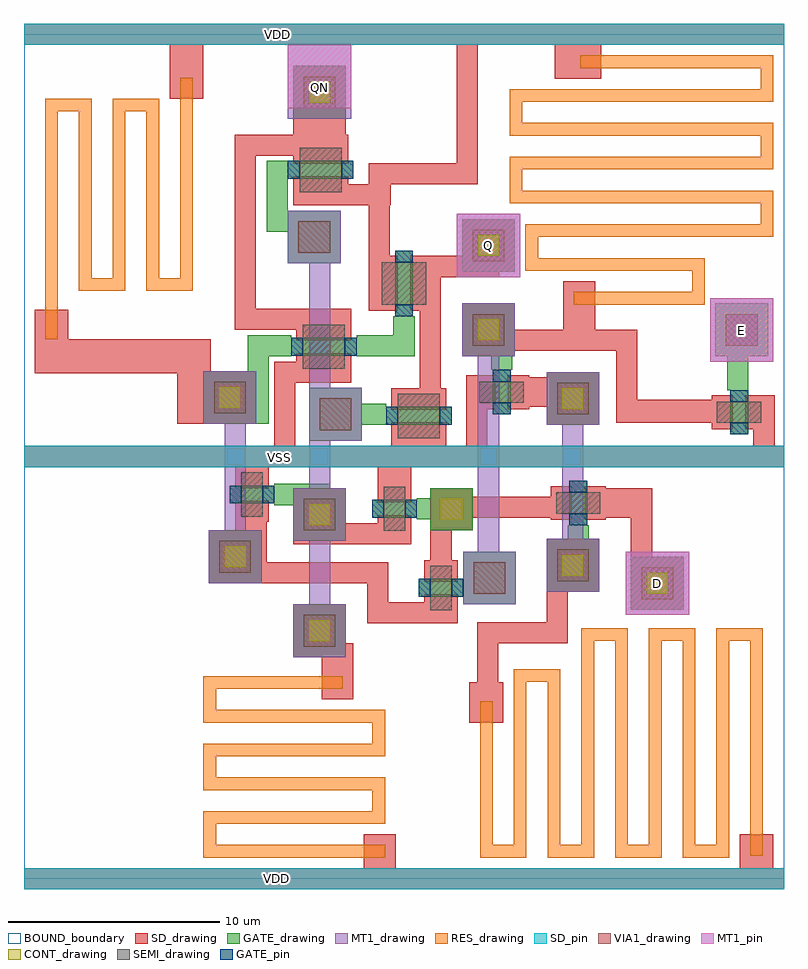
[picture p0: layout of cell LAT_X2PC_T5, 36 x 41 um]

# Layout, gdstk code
from math import pi, radians
import gdstk
lib = gdstk.Library(unit=1e-6, precision=1e-09)
def R(c, l, rs):  # rectangles x0, y0, x1, y1
    for r in rs: c.add(gdstk.rectangle(r[:2], r[2:], *l))
def A(c, l, x, y, w, h, nx, ny, dx, dy):  # array of equal rectangles
    R(c, l, [(x+i*dx, y+j*dy, x+i*dx+w, y+j*dy+h) for i in range(nx) for j in range(ny)])
def P(c, l, *ps):  # polygons
    for p in ps: c.add(gdstk.Polygon(p, *l))
RES_drawing = (1, 0)
SEMI_drawing = (3, 0)
SD_drawing = (10, 0)
SD_pin = (10, 3)
GATE_drawing = (11, 0)
GATE_pin = (11, 3)
MT1_drawing = (20, 0)
MT1_pin = (20, 3)
CONT_drawing = (30, 0)
VIA1_drawing = (41, 0)
BOUND_boundary = (150, 5)

nch_cdns_772544946530 = lib.new_cell('nch_CDNS_772544946530')
R(nch_cdns_772544946530, SEMI_drawing, [(-1.05,-0.5,1.05,0.5)])
R(nch_cdns_772544946530, SD_drawing, [(-1.3,-0.8,-0.3,0.8), (0.3,-0.8,1.3,0.8)])
R(nch_cdns_772544946530, GATE_drawing, [(-0.425,-1.05,0.425,1.05)])
R(nch_cdns_772544946530, GATE_pin, [(-0.425,-1.05,0.425,-0.5), (-0.425,0.5,0.425,1.05)])

nch_cdns_772544946531 = lib.new_cell('nch_CDNS_772544946531')
R(nch_cdns_772544946531, SEMI_drawing, [(-1.05,-1,1.05,1)])
R(nch_cdns_772544946531, SD_drawing, [(-1.3,-1.3,-0.3,1.3), (0.3,-1.3,1.3,1.3)])
R(nch_cdns_772544946531, GATE_drawing, [(-0.425,-1.55,0.425,1.55)])
R(nch_cdns_772544946531, GATE_pin, [(-0.425,-1.55,0.425,-1), (-0.425,1,0.425,1.55)])

sd_gate_cdns_77254494653 = lib.new_cell('SD_GATE_CDNS_772544946530')
R(sd_gate_cdns_77254494653, SD_drawing, [(-1.25,-1.25,1.25,1.25)])
R(sd_gate_cdns_77254494653, GATE_drawing, [(-1.25,-1.25,1.25,1.25)])
R(sd_gate_cdns_77254494653, CONT_drawing, [(-0.5,-0.5,0.5,0.5)])

gate_mt1_cdns_7725449465 = lib.new_cell('GATE_MT1_CDNS_772544946531')
R(gate_mt1_cdns_7725449465, GATE_drawing, [(-1.25,-1.25,1.25,1.25)])
R(gate_mt1_cdns_7725449465, MT1_drawing, [(-1.5,-1.5,1.5,1.5)])
R(gate_mt1_cdns_7725449465, VIA1_drawing, [(-0.75,-0.75,0.75,0.75)])

c_gate_mt1_cdns_7725449465 = lib.new_cell('GATE_MT1_CDNS_772544946532')
R(c_gate_mt1_cdns_7725449465, GATE_drawing, [(-1.25,-1.25,1.25,1.25)])
R(c_gate_mt1_cdns_7725449465, MT1_drawing, [(-1.25,-1.25,1.25,1.25)])
R(c_gate_mt1_cdns_7725449465, VIA1_drawing, [(-0.75,-0.75,0.75,0.75)])

c_sd_gate_cdns_77254494653 = lib.new_cell('SD_GATE_CDNS_772544946533')
R(c_sd_gate_cdns_77254494653, SD_drawing, [(-1,-1,1,1)])
R(c_sd_gate_cdns_77254494653, GATE_drawing, [(-1,-1,1,1)])
R(c_sd_gate_cdns_77254494653, CONT_drawing, [(-0.5,-0.5,0.5,0.5)])

gate_mt1_stack_cdns_7725 = lib.new_cell('GATE_MT1_STACK_CDNS_772544946534')
R(gate_mt1_stack_cdns_7725, GATE_drawing, [(-1.25,-1.25,1.25,1.25)])
R(gate_mt1_stack_cdns_7725, MT1_drawing, [(-1.25,-1.25,1.25,1.25)])
R(gate_mt1_stack_cdns_7725, VIA1_drawing, [(-0.75,-0.75,0.75,0.75)])

lat_x2pc_t5 = lib.new_cell('LAT_X2PC_T5')
A(lat_x2pc_t5, SD_drawing, 0, -0.5, 36, 1, 1, 3, 0, 20)
R(lat_x2pc_t5, SD_drawing, [(16.1,0.5,17.6,2.1), (33.9,0.5,35.5,2.1), (21.1,7.4,22.7,9.3), (21.475,9.3,22.475,11.2), (21.475,11.15,25.6,12.15), (24.75,11.15,25.75,15.05), (28.75,12.75,31.25,15.25), (24.75,13.6,27.25,16.1), (8.75,14,11.25,16.5), (19.25,14.75,20.25,17.3), (12.75,15.85,18.35,16.85), (19.25,17.1,24.95,18.1), (16.75,18.825,18.35,19.5), (8.5,21.55,11,24.05), (25.55,26,27.05,28.3), (6.9,36.95,8.5,39.5), (25.15,37.9,27.35,39.5)])
P(lat_x2pc_t5, SD_drawing, [(32.575,22.7),(29.05,22.7),(29.05,26),(22.5,26),(22.5,25),(28.05,25),(28.05,21.6),(32.575,21.6)],
  [(29.75,15.25),(29.75,18.5),(27.55,18.5),(27.55,17.1),(28.75,17.1),(28.75,15.25)],
  [(20.55,13.1),(17.25,13.1),(17.25,15),(11.5,15),(11.5,17.5),(10,17.5),(10,16.5),(10.5,16.5),(10.5,14),(16.25,14),(16.25,12.1),(20.55,12.1)],
  [(15.6,11.15),(15.25,11.15),(15.25,12.25),(14,12.25),(14,11.25),(14.1,11.25),(14.1,8.5),(15.6,8.5)],
  [(12.85,23.5),(15.5,23.5),(15.5,24.5),(11.85,24.5),(11.85,20.5),(12.85,20.5)])
A(lat_x2pc_t5, SD_pin, 0, -0.5, 36, 1, 1, 3, 0, 20)
P(lat_x2pc_t5, GATE_drawing, [(34.3,23.25),(33.3,23.25),(33.3,23.15),(33.55,23.15),(33.55,23.1),(34.3,23.1)],
  [(23.125,24.2),(22.125,24.2),(22.125,24.1),(22.25,24.1),(22.25,24.05),(23,24.05),(23,24.1),(23.125,24.1)],
  [(11.95,17.7),(11.95,18.7),(11.85,18.7),(11.85,18.575),(11.8,18.575),(11.8,17.825),(11.85,17.825),(11.85,17.7)],
  [(17.5,26.55),(18.5,26.55),(18.5,26.65),(18.375,26.65),(18.375,26.7),(17.625,26.7),(17.625,26.65),(17.5,26.65)],
  [(12.4,34),(12.4,33),(12.5,33),(12.5,33.25),(12.55,33.25),(12.55,34)],
  [(20.9,13.275),(20.9,14.275),(20.8,14.275),(20.8,14.15),(20.75,14.15),(20.75,13.4),(20.8,13.4),(20.8,13.275)],
  [(12.55,25.75),(12.55,24.75),(12.65,24.75),(12.65,24.825),(12.7,24.825),(12.7,25.575),(12.65,25.575),(12.65,25.75)],
  [(25.75,16.65),(26.75,16.65),(26.75,16.75),(26.625,16.75),(26.625,16.8),(25.875,16.8),(25.875,16.75),(25.75,16.75)],
  [(15.85,25.75),(15.85,24.75),(15.75,24.75),(15.75,24.825),(15.7,24.825),(15.7,25.575),(15.75,25.575),(15.75,25.75)],
  [(17.05,22.5),(17.05,21.5),(17.2,21.5),(17.2,22.25),(17.15,22.25),(17.15,22.5)],
  [(18.7,17.025),(18.7,18.025),(18.6,18.025),(18.6,17.9),(18.55,17.9),(18.55,17.15),(18.6,17.15),(18.6,17.025)])
R(lat_x2pc_t5, MT1_drawing, [(28.5,12.5,31.5,15.5), (32.5,24.5,35.5,27.5), (20.5,28.5,23.5,31.5), (12.5,36,15.5,39.5)])
R(lat_x2pc_t5, MT1_pin, [(28.5,12.5,31.5,15.5), (32.5,24.5,35.5,27.5), (20.5,28.5,23.5,31.5), (12.5,36.5,15.5,39.5)])
R(lat_x2pc_t5, BOUND_boundary, [(0,0,36,40)])
lat_x2pc_t5.add(gdstk.FlexPath([(22.625,24.75),(22.625,24.1)], 1, ends="flush", simple_path=True, layer=11, datatype=0))  # GATE_drawing
lat_x2pc_t5.add(gdstk.FlexPath([(18,26.65),(18,25.25)], 1, ends=(0, 0.5), simple_path=True, layer=11, datatype=0))  # GATE_drawing
lat_x2pc_t5.add(gdstk.FlexPath([(18,25.25),(15.75,25.25)], 1, ends=(0.5, 0), simple_path=True, layer=11, datatype=0))  # GATE_drawing
lat_x2pc_t5.add(gdstk.FlexPath([(33.8,23.15),(33.8,26)], 1, ends="flush", simple_path=True, layer=11, datatype=0))  # GATE_drawing
lat_x2pc_t5.add(gdstk.FlexPath([(26.25,14.85),(26,14.85)], 1, ends=(0.5, 0), simple_path=True, layer=11, datatype=0))  # GATE_drawing
lat_x2pc_t5.add(gdstk.FlexPath([(18.6,17.525),(19.25,17.525)], 1, ends="flush", simple_path=True, layer=11, datatype=0))  # GATE_drawing
lat_x2pc_t5.add(gdstk.FlexPath([(11.85,18.2),(14,18.2)], 1, ends=(0, 0.5), simple_path=True, layer=11, datatype=0))  # GATE_drawing
lat_x2pc_t5.add(gdstk.FlexPath([(14,18.2),(14,17.25)], 1, ends=(0.5, 0), simple_path=True, layer=11, datatype=0))  # GATE_drawing
lat_x2pc_t5.add(gdstk.FlexPath([(12.65,25.25),(11.1,25.25)], 1, ends=(0, 0.5), simple_path=True, layer=11, datatype=0))  # GATE_drawing
lat_x2pc_t5.add(gdstk.FlexPath([(13.55,30.925),(13.55,31.15)], 1, ends="extended", simple_path=True, layer=11, datatype=0))  # GATE_drawing
lat_x2pc_t5.add(gdstk.FlexPath([(17.05,22),(14,22)], 1, ends=(0, 0.5), simple_path=True, layer=11, datatype=0))  # GATE_drawing
lat_x2pc_t5.add(gdstk.FlexPath([(13.55,31.15),(12,31.15)], 1, ends="extended", simple_path=True, layer=11, datatype=0))  # GATE_drawing
lat_x2pc_t5.add(gdstk.FlexPath([(14,22),(14,21.875)], 1, ends=(0.5, 0), simple_path=True, layer=11, datatype=0))  # GATE_drawing
lat_x2pc_t5.add(gdstk.FlexPath([(12,31.15),(12,33.5)], 1, ends="extended", simple_path=True, layer=11, datatype=0))  # GATE_drawing
lat_x2pc_t5.add(gdstk.FlexPath([(11.1,25.25),(11.1,22.05)], 1, ends="extended", simple_path=True, layer=11, datatype=0))  # GATE_drawing
lat_x2pc_t5.add(gdstk.FlexPath([(26.25,16.75),(26.25,14.85)], 1, ends=(0, 0.5), simple_path=True, layer=11, datatype=0))  # GATE_drawing
lat_x2pc_t5.add(gdstk.FlexPath([(11.1,22.05),(9.8,22.05)], 1, ends=(0.5, 0), simple_path=True, layer=11, datatype=0))  # GATE_drawing
lat_x2pc_t5.add(gdstk.FlexPath([(15,26.5),(10.475,26.5),(10.475,34.75),(14.85,34.75)], 1, ends="extended", simple_path=True, layer=10, datatype=0))  # SD_drawing
lat_x2pc_t5.add(gdstk.FlexPath([(35.05,22.9),(35.05,20.5)], 1, ends="flush", simple_path=True, layer=10, datatype=0))  # SD_drawing
lat_x2pc_t5.add(gdstk.FlexPath([(21.45,23.85),(21.45,20.5)], 1, ends="flush", simple_path=True, layer=10, datatype=0))  # SD_drawing
lat_x2pc_t5.add(gdstk.FlexPath([(23.925,23.05),(26,23.05)], 1.4, ends=(0, 0.7), simple_path=True, layer=10, datatype=0))  # SD_drawing
lat_x2pc_t5.add(gdstk.FlexPath([(16.825,26.9),(16.825,33.4),(21,33.4),(21,39.5)], 1, ends="flush", simple_path=True, layer=10, datatype=0))  # SD_drawing
lat_x2pc_t5.add(gdstk.FlexPath([(1.3,26.95),(1.3,24.75)], 1.6, ends=(0, 0.8), simple_path=True, layer=10, datatype=0))  # SD_drawing
lat_x2pc_t5.add(gdstk.FlexPath([(1.3,24.75),(8.05,24.75)], 1.6, ends="extended", simple_path=True, layer=10, datatype=0))  # SD_drawing
lat_x2pc_t5.add(gdstk.FlexPath([(8.05,24.75),(8.05,21.55)], 1.6, ends=(0.8, 0), simple_path=True, layer=10, datatype=0))  # SD_drawing
lat_x2pc_t5.add(gdstk.FlexPath([(19.25,22.275),(19.25,29.5)], 1, ends="flush", simple_path=True, layer=10, datatype=0))  # SD_drawing
lat_x2pc_t5.add(gdstk.FlexPath([(17.4,20.625),(20,20.625)], 1, ends="flush", simple_path=True, layer=10, datatype=0))  # SD_drawing
lat_x2pc_t5.add(gdstk.FlexPath([(26,23.05),(26,22.75)], 1.4, ends=(0.7, 0), simple_path=True, layer=10, datatype=0))  # SD_drawing
lat_x2pc_t5.add(gdstk.FlexPath([(19.4,29),(22,29)], 1, ends=(0, 0.5), simple_path=True, layer=10, datatype=0))  # SD_drawing
lat_x2pc_t5.add(gdstk.FlexPath([(22,29),(22,30)], 1, ends=(0.5, 0), simple_path=True, layer=10, datatype=0))  # SD_drawing
lat_x2pc_t5.add(gdstk.FlexPath([(17.375,32.4),(12.75,32.4)], 1, ends="flush", simple_path=True, layer=10, datatype=0))  # SD_drawing
lat_x2pc_t5.add(gdstk.FlexPath([(14,38.5),(14,34.2)], 2.5, ends="flush", simple_path=True, layer=10, datatype=0))  # SD_drawing
lat_x2pc_t5.add(gdstk.FlexPath([(26,15.35),(26,22.25)], 1, ends="flush", simple_path=True, layer=20, datatype=0))  # MT1_drawing
lat_x2pc_t5.add(gdstk.FlexPath([(22,26.15),(22,14.95)], 1, ends="flush", simple_path=True, layer=20, datatype=0))  # MT1_drawing
lat_x2pc_t5.add(gdstk.FlexPath([(14,30.6),(14,11)], 1, ends="flush", simple_path=True, layer=20, datatype=0))  # MT1_drawing
lat_x2pc_t5.add(gdstk.FlexPath([(10,16),(10,22.45)], 1, ends="flush", simple_path=True, layer=20, datatype=0))  # MT1_drawing
lat_x2pc_t5.add(gdstk.FlexPath([(1.3,25.55),(1.3,36.65),(2.9,36.65),(2.9,28.15),(4.5,28.15),(4.5,36.65),(6.1,36.65),(6.1,28.15),(7.7,28.15),(7.7,37.95)], 0.6, ends="flush", simple_path=True, layer=1, datatype=0))  # RES_drawing
lat_x2pc_t5.add(gdstk.FlexPath([(34.7,1.1),(34.7,11.575),(33.1,11.575),(33.1,1.3),(31.5,1.3),(31.5,11.575),(29.9,11.575),(29.9,1.3),(28.3,1.3),(28.3,11.575),(26.7,11.575),(26.7,1.3),(25.1,1.3),(25.1,9.625),(23.5,9.625),(23.5,1.3),(21.9,1.3),(21.9,8.4)], 0.6, ends="flush", simple_path=True, layer=1, datatype=0))  # RES_drawing
lat_x2pc_t5.add(gdstk.FlexPath([(27.35,38.7),(35.2,38.7),(35.2,37.1),(23.3,37.1),(23.3,35.5),(35.2,35.5),(35.2,33.9),(23.3,33.9),(23.3,32.3),(35.2,32.3),(35.2,30.7),(24.05,30.7),(24.05,29.1),(31.95,29.1),(31.95,27.5),(26.05,27.5)], 0.6, ends=(1, 0), simple_path=True, layer=1, datatype=0))  # RES_drawing
lat_x2pc_t5.add(gdstk.FlexPath([(14.1,9.3),(8.8,9.3),(8.8,7.7),(16.8,7.7),(16.8,6.1),(8.8,6.1),(8.8,4.5),(16.8,4.5),(16.8,2.9),(8.8,2.9),(8.8,1.3),(16.1,1.3)], 0.6, ends=(1, 1), simple_path=True, layer=1, datatype=0))  # RES_drawing
lat_x2pc_t5.add(gdstk.Reference(nch_cdns_772544946530, (26.25,17.8)))
lat_x2pc_t5.add(gdstk.Reference(nch_cdns_772544946530, (17.55,17.525), rotation=3*pi/2))
lat_x2pc_t5.add(gdstk.Reference(nch_cdns_772544946530, (19.75,13.775), rotation=pi/2))
lat_x2pc_t5.add(gdstk.Reference(nch_cdns_772544946530, (10.8,18.2), rotation=3*pi/2))
lat_x2pc_t5.add(gdstk.Reference(nch_cdns_772544946530, (22.625,23.05)))
lat_x2pc_t5.add(gdstk.Reference(nch_cdns_772544946530, (33.875,22.1), rotation=pi, x_reflection=True))
lat_x2pc_t5.add(gdstk.Reference(nch_cdns_772544946531, (14.05,33.575), rotation=3*pi/2, x_reflection=True))
lat_x2pc_t5.add(gdstk.Reference(nch_cdns_772544946531, (18,28.2), rotation=pi))
lat_x2pc_t5.add(gdstk.Reference(nch_cdns_772544946531, (14.2,25.2), rotation=pi/2))
lat_x2pc_t5.add(gdstk.Reference(nch_cdns_772544946531, (18.7,21.925), rotation=pi/2))
lat_x2pc_t5.add(gdstk.Reference(sd_gate_cdns_77254494653, (22,26)))
lat_x2pc_t5.add(gdstk.Reference(sd_gate_cdns_77254494653, (22,26)))
lat_x2pc_t5.add(gdstk.Reference(sd_gate_cdns_77254494653, (22,26)))
lat_x2pc_t5.add(gdstk.Reference(sd_gate_cdns_77254494653, (22,26)))
lat_x2pc_t5.add(gdstk.Reference(sd_gate_cdns_77254494653, (26,22.75), rotation=pi, x_reflection=True))
lat_x2pc_t5.add(gdstk.Reference(sd_gate_cdns_77254494653, (26,22.75), rotation=pi, x_reflection=True))
lat_x2pc_t5.add(gdstk.Reference(sd_gate_cdns_77254494653, (26,22.75), rotation=pi, x_reflection=True))
lat_x2pc_t5.add(gdstk.Reference(sd_gate_cdns_77254494653, (26,22.75), rotation=pi, x_reflection=True))
lat_x2pc_t5.add(gdstk.Reference(sd_gate_cdns_77254494653, (26,22.75), rotation=pi, x_reflection=True))
lat_x2pc_t5.add(gdstk.Reference(sd_gate_cdns_77254494653, (14,17.25)))
lat_x2pc_t5.add(gdstk.Reference(sd_gate_cdns_77254494653, (14,17.25)))
lat_x2pc_t5.add(gdstk.Reference(sd_gate_cdns_77254494653, (14,17.25)))
lat_x2pc_t5.add(gdstk.Reference(sd_gate_cdns_77254494653, (14,17.25)))
lat_x2pc_t5.add(gdstk.Reference(sd_gate_cdns_77254494653, (14,17.25)))
lat_x2pc_t5.add(gdstk.Reference(sd_gate_cdns_77254494653, (14,11.75)))
lat_x2pc_t5.add(gdstk.Reference(sd_gate_cdns_77254494653, (14,11.75)))
lat_x2pc_t5.add(gdstk.Reference(sd_gate_cdns_77254494653, (14,11.75)))
lat_x2pc_t5.add(gdstk.Reference(sd_gate_cdns_77254494653, (14,11.75)))
lat_x2pc_t5.add(gdstk.Reference(sd_gate_cdns_77254494653, (14,11.75)))
lat_x2pc_t5.add(gdstk.Reference(sd_gate_cdns_77254494653, (22,30), rotation=pi))
lat_x2pc_t5.add(gdstk.Reference(gate_mt1_cdns_7725449465, (22,30), rotation=pi))
lat_x2pc_t5.add(gdstk.Reference(c_gate_mt1_cdns_7725449465, (30,14)))
lat_x2pc_t5.add(gdstk.Reference(c_gate_mt1_cdns_7725449465, (22,26)))
lat_x2pc_t5.add(gdstk.Reference(c_gate_mt1_cdns_7725449465, (22,26)))
lat_x2pc_t5.add(gdstk.Reference(c_gate_mt1_cdns_7725449465, (22,26)))
lat_x2pc_t5.add(gdstk.Reference(c_gate_mt1_cdns_7725449465, (22,26)))
lat_x2pc_t5.add(gdstk.Reference(c_gate_mt1_cdns_7725449465, (26,14.85)))
lat_x2pc_t5.add(gdstk.Reference(c_gate_mt1_cdns_7725449465, (26,14.85)))
lat_x2pc_t5.add(gdstk.Reference(c_gate_mt1_cdns_7725449465, (26,14.85)))
lat_x2pc_t5.add(gdstk.Reference(c_gate_mt1_cdns_7725449465, (26,14.85)))
lat_x2pc_t5.add(gdstk.Reference(c_gate_mt1_cdns_7725449465, (26,14.85)))
lat_x2pc_t5.add(gdstk.Reference(c_gate_mt1_cdns_7725449465, (22.05,14.25)))
lat_x2pc_t5.add(gdstk.Reference(c_gate_mt1_cdns_7725449465, (26,22.75), rotation=pi, x_reflection=True))
lat_x2pc_t5.add(gdstk.Reference(c_gate_mt1_cdns_7725449465, (26,22.75), rotation=pi, x_reflection=True))
lat_x2pc_t5.add(gdstk.Reference(c_gate_mt1_cdns_7725449465, (26,22.75), rotation=pi, x_reflection=True))
lat_x2pc_t5.add(gdstk.Reference(c_gate_mt1_cdns_7725449465, (26,22.75), rotation=pi, x_reflection=True))
lat_x2pc_t5.add(gdstk.Reference(c_gate_mt1_cdns_7725449465, (26,22.75), rotation=pi, x_reflection=True))
lat_x2pc_t5.add(gdstk.Reference(c_gate_mt1_cdns_7725449465, (14,17.25)))
lat_x2pc_t5.add(gdstk.Reference(c_gate_mt1_cdns_7725449465, (14,17.25)))
lat_x2pc_t5.add(gdstk.Reference(c_gate_mt1_cdns_7725449465, (14,17.25)))
lat_x2pc_t5.add(gdstk.Reference(c_gate_mt1_cdns_7725449465, (14,17.25)))
lat_x2pc_t5.add(gdstk.Reference(c_gate_mt1_cdns_7725449465, (14,17.25)))
lat_x2pc_t5.add(gdstk.Reference(c_gate_mt1_cdns_7725449465, (14,11.75)))
lat_x2pc_t5.add(gdstk.Reference(c_gate_mt1_cdns_7725449465, (14,11.75)))
lat_x2pc_t5.add(gdstk.Reference(c_gate_mt1_cdns_7725449465, (14,11.75)))
lat_x2pc_t5.add(gdstk.Reference(c_gate_mt1_cdns_7725449465, (14,11.75)))
lat_x2pc_t5.add(gdstk.Reference(c_gate_mt1_cdns_7725449465, (14,11.75)))
lat_x2pc_t5.add(gdstk.Reference(c_gate_mt1_cdns_7725449465, (9.75,22.8)))
lat_x2pc_t5.add(gdstk.Reference(c_gate_mt1_cdns_7725449465, (10,15.25)))
lat_x2pc_t5.add(gdstk.Reference(c_gate_mt1_cdns_7725449465, (14,37.25)))
lat_x2pc_t5.add(gdstk.Reference(c_sd_gate_cdns_77254494653, (20.25,17.5)))
lat_x2pc_t5.add(gdstk.Reference(c_sd_gate_cdns_77254494653, (20.25,17.5)))
lat_x2pc_t5.add(gdstk.Reference(c_sd_gate_cdns_77254494653, (20.25,17.5)))
lat_x2pc_t5.add(gdstk.Reference(c_sd_gate_cdns_77254494653, (20.25,17.5)))
lat_x2pc_t5.add(gdstk.Reference(c_sd_gate_cdns_77254494653, (20.25,17.5)))
lat_x2pc_t5.add(gdstk.Reference(c_sd_gate_cdns_77254494653, (14,37.25)))
lat_x2pc_t5.add(gdstk.Reference(c_sd_gate_cdns_77254494653, (30,14)))
lat_x2pc_t5.add(gdstk.Reference(c_sd_gate_cdns_77254494653, (26,14.85)))
lat_x2pc_t5.add(gdstk.Reference(c_sd_gate_cdns_77254494653, (9.75,22.8)))
lat_x2pc_t5.add(gdstk.Reference(c_sd_gate_cdns_77254494653, (10,15.25)))
lat_x2pc_t5.add(gdstk.Reference(gate_mt1_stack_cdns_7725, (34,26)))
lat_x2pc_t5.add(gdstk.Reference(gate_mt1_stack_cdns_7725, (13.75,30.4)))
lat_x2pc_t5.add(gdstk.Reference(gate_mt1_stack_cdns_7725, (14.75,22)))
lat_x2pc_t5.add(gdstk.Label('D', (30,14), layer=20, texttype=3))
lat_x2pc_t5.add(gdstk.Label('D', (30,14), layer=20, texttype=3))
lat_x2pc_t5.add(gdstk.Label('E', (34,25.95), layer=20, texttype=3))
lat_x2pc_t5.add(gdstk.Label('QN', (14,37.5), layer=20, texttype=3))
lat_x2pc_t5.add(gdstk.Label('Q', (22,30), layer=20, texttype=3))
lat_x2pc_t5.add(gdstk.Label('VDD', (11.95,0), layer=10, texttype=3))
lat_x2pc_t5.add(gdstk.Label('VSS', (12.1,19.95), layer=10, texttype=3))
lat_x2pc_t5.add(gdstk.Label('VDD', (12,40), layer=10, texttype=3))

lib.write_gds('LAT_X2PC_T5.gds')
